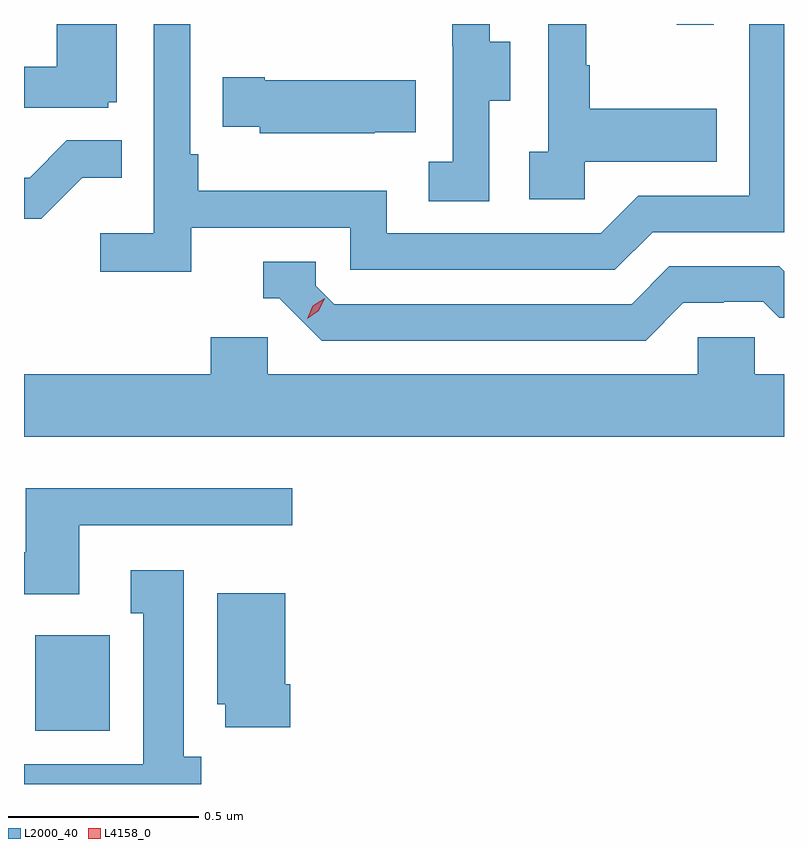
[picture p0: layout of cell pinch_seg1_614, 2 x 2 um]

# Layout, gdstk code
import gdstk
lib = gdstk.Library(unit=1e-6, precision=1e-09)
def R(c, l, rs):  # rectangles x0, y0, x1, y1
    for r in rs: c.add(gdstk.rectangle(r[:2], r[2:], *l))
def P(c, l, *ps):  # polygons
    for p in ps: c.add(gdstk.Polygon(p, *l))
L2000_40 = (2000, 40)
L4158_0 = (4158, 0)

pinch_seg1_614 = lib.new_cell('pinch_seg1_614')
R(pinch_seg1_614, L2000_40, [(1046.405,516.326,1046.601,516.577), (1048.094,518.184,1048.191,518.186)])
P(pinch_seg1_614, L2000_40, [(1047.6,517.984),(1047.655,517.984),(1047.655,518.139),(1047.601,518.139),(1047.601,518.186),(1047.503,518.186),(1047.503,518.127),(1047.504,518.127),(1047.504,517.823),(1047.441,517.823),(1047.441,517.72),(1047.6,517.72)],
  [(1047.852,517.823),(1048.199,517.823),(1048.199,517.963),(1047.865,517.963),(1047.865,518.078),(1047.855,518.078),(1047.855,518.186),(1047.756,518.186),(1047.756,517.85),(1047.705,517.85),(1047.705,517.725),(1047.852,517.725)],
  [(1046.598,517.98),(1046.62,517.98),(1046.62,518.186),(1046.462,518.186),(1046.462,518.074),(1046.376,518.074),(1046.376,517.965),(1046.598,517.965)],
  [(1046.816,517.65),(1047.234,517.65),(1047.234,517.539),(1047.931,517.539),(1048.03,517.638),(1048.376,517.638),(1048.376,518.186),(1048.284,518.186),(1048.284,517.734),(1047.993,517.734),(1047.894,517.635),(1047.33,517.635),(1047.33,517.747),(1046.834,517.747),(1046.834,517.843),(1046.814,517.843),(1046.814,518.186),(1046.718,518.186),(1046.718,517.636),(1046.577,517.636),(1046.577,517.534),(1046.816,517.534)],
  [(1047.299,517.901),(1047.407,517.901),(1047.407,518.038),(1047.01,518.038),(1047.01,518.046),(1046.899,518.046),(1046.899,517.916),(1046.997,517.916),(1046.997,517.898),(1047.299,517.898)],
  [(1046.529,517.781),(1046.633,517.781),(1046.633,517.88),(1046.489,517.88),(1046.391,517.782),(1046.376,517.782),(1046.376,517.674),(1046.422,517.674)],
  [(1048.111,517.452),(1048.218,517.452),(1048.218,517.455),(1048.321,517.455),(1048.363,517.413),(1048.376,517.413),(1048.376,517.535),(1048.363,517.548),(1048.074,517.548),(1047.975,517.449),(1047.192,517.449),(1047.144,517.497),(1047.144,517.56),(1047.005,517.56),(1047.005,517.464),(1047.048,517.464),(1047.159,517.353),(1048.012,517.353)],
  [(1048.376,517.264),(1048.299,517.264),(1048.299,517.362),(1048.149,517.362),(1048.149,517.264),(1047.018,517.264),(1047.018,517.362),(1046.867,517.362),(1046.867,517.264),(1046.376,517.264),(1046.376,517.1),(1048.376,517.1)],
  [(1046.521,516.867),(1047.082,516.867),(1047.082,516.964),(1046.381,516.964),(1046.381,516.796),(1046.376,516.796),(1046.376,516.686),(1046.521,516.686)],
  [(1046.842,516.258),(1046.797,516.258),(1046.797,516.748),(1046.657,516.748),(1046.657,516.635),(1046.69,516.635),(1046.69,516.238),(1046.376,516.238),(1046.376,516.186),(1046.842,516.186)],
  [(1047.077,516.448),(1047.064,516.448),(1047.064,516.688),(1046.885,516.688),(1046.885,516.396),(1046.906,516.396),(1046.906,516.336),(1047.077,516.336)])
P(pinch_seg1_614, L4158_0, [(1047.121,517.411),(1047.121,517.411),(1047.136,517.444),(1047.167,517.464),(1047.167,517.464),(1047.167,517.464),(1047.151,517.431),(1047.121,517.411)])

lib.write_gds('pinch_seg1_614.gds')
